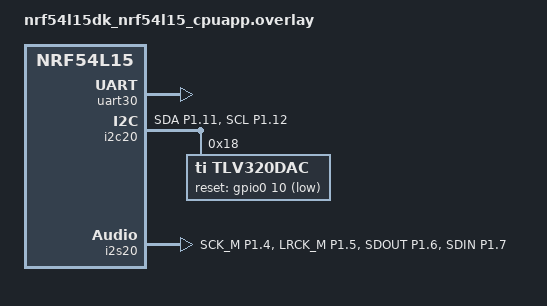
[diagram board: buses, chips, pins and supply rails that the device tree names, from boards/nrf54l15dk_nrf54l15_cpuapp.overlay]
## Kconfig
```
#
# Copyright (c) 2020 Nordic Semiconductor
#
# SPDX-License-Identifier: LicenseRef-Nordic-5-Clause
#

source "Kconfig.zephyr"

menu "Enhanced ShockBurst: Receiver"

config ESB_PRX_APP_LOG_LEVEL
	int "Log level for the ESB PRX sample"
	default 4

endmenu

config I2S_INIT_BUFFERS
	int "Initial count of audio data blocks"
	default 4
	help
	  Controls the initial count of audio data blocks, which are (optionally)
	  filled by data from the DMIC peripheral and played back by the I2S
	  output peripheral.

config SAMPLE_FREQ
	int "Sample rate"
	default 16000
	help
	  Sample frequency of the system.

config USE_CODEC_CLOCK
	bool "I2S BCK is generated by a selected codec device"
	help
	  If selected, the I2S selected peripheral will be configured to consume
	  (receive) the I2S BCK and WS signals and the codec will be configured
	  to generate those. If not selected, the I2S peripheral will generate
	  them and the codec will be expected to consume them.

config EXTRA_BLOCKS
	int "Number of extra blocks"
	default 32
	help
	  Extra blocks for storing PCM sample.

config SAMPLE_WIDTH
	int "Sample bit width"
	default 16
	help
	  PCM sample bit width.

config BYTES_PER_SAMPLE
	int "Bytes per sample"
	default 2
	help
	  Number of bytes per PCM sample.

config USE_DMIC
	bool "Use DMIC as an audio input"

if USE_DMIC

config DMIC_CHANNELS
	int "Number of DMIC channels"
	default 1
	help
	  Count of DMIC channels to capture and process.

endif
```

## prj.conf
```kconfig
#
# Copyright (c) 2019 Nordic Semiconductor ASA
#
# SPDX-License-Identifier: LicenseRef-Nordic-5-Clause
#
CONFIG_NCS_SAMPLES_DEFAULTS=y
CONFIG_ESB=y
CONFIG_DK_LIBRARY=y
CONFIG_CLOCK_CONTROL=y
CONFIG_ESB_MAX_PAYLOAD_LENGTH=252

# Gdb related configs
CONFIG_DEBUG_INFO=y
CONFIG_DEBUG_THREAD_INFO=y

# gcc setting
CONFIG_DEBUG_OPTIMIZATIONS=y

CONFIG_I2C=y
CONFIG_I2S=y

CONFIG_AUDIO=y
CONFIG_AUDIO_CODEC=y
CONFIG_USE_CODEC_CLOCK=y
CONFIG_SAMPLE_FREQ=48000
CONFIG_I2S_INIT_BUFFERS=4
CONFIG_EXTRA_BLOCKS=0

CONFIG_MAIN_STACK_SIZE=10240

CONFIG_AUDIO_CODEC_LOG_LEVEL_DBG=y
CONFIG_FPU=y
```

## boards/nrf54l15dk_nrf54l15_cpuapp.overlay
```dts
&{/chosen} {
    zephyr,audio-codec = &tlv320dac;
    zephyr,console = &uart30;
    zephyr,shell-uart = &uart30;
};

/ {
     aliases {
            audio-codec = &tlv320dac;
            i2s-codec-tx = &i2s20;
     };
};

/* ---------------- PINCTRL ---------------- */
&pinctrl {

    /* I2C0 pins */
    i2c20_default: i2c20_default {
        group1 {
            psels =
                <NRF_PSEL(TWIM_SDA, 1, 11)>,
                <NRF_PSEL(TWIM_SCL, 1, 12)>;
        };
    };

    /* I2S0 pins */
    i2s20_default: i2s20_default {
        group1 {
            psels =
                <NRF_PSEL(I2S_SCK_M,   1, 4)>,
                <NRF_PSEL(I2S_LRCK_M,  1, 5)>,
                <NRF_PSEL(I2S_SDOUT, 1, 6)>,
                <NRF_PSEL(I2S_SDIN,  1, 7)>;
        };
    };
};

&uart20 {
    status = "disabled";
};

&uart30 {
    status = "ok";
};

/* ---------- I2C ---------- */
&i2c20 {
    status = "okay";

    pinctrl-0 = <&i2c20_default>;
    pinctrl-names = "default";

    tlv320dac: tlv320dac@18 {
        status = "okay";

        compatible = "ti,tlv320dac";
        reg = <0x18>;
        reset-gpios = <&gpio0 10 GPIO_ACTIVE_LOW>;
    };
};

/* ---------- I2S ---------- */
&i2s20 {
    status = "okay";

    pinctrl-0 = <&i2s20_default>;
    pinctrl-names = "default";
};
```

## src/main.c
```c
/*
 * Copyright (c) 2018 Nordic Semiconductor ASA
 *
 * SPDX-License-Identifier: LicenseRef-Nordic-5-Clause
 */
#include <dk_buttons_and_leds.h>
#include <esb.h>
#include <nrf.h>
#include <zephyr/device.h>
#include <zephyr/devicetree.h>
#include <zephyr/drivers/clock_control.h>
#include <zephyr/drivers/clock_control/nrf_clock_control.h>
#include <zephyr/drivers/gpio.h>
#include <zephyr/drivers/i2s.h>
#include <zephyr/irq.h>
#include <zephyr/kernel.h>
#include <zephyr/logging/log.h>
#include <zephyr/types.h>
#if defined(CONFIG_CLOCK_CONTROL_NRF2)
#include <hal/nrf_lrcconf.h>
#endif
#include <nrf_erratas.h>
#if NRF54L_ERRATA_20_PRESENT
#include <hal/nrf_power.h>
#endif /* NRF54L_ERRATA_20_PRESENT */
#if defined(NRF54LM20A_ENGA_XXAA)
#include <hal/nrf_clock.h>
#endif /* defined(NRF54LM20A_ENGA_XXAA) */

LOG_MODULE_REGISTER(esb_prx, CONFIG_ESB_PRX_APP_LOG_LEVEL);

#define PACKET_RECEIVED 0U
#define AUDIO_QUEUE_OK 1U
#define I2S_WRITE_OK 2U
#define I2S_ACTIVE 3U

#define ESB_RF_CHANNEL 10U

static struct esb_payload rx_payload = {0};
#define NUM_SAMPLES 16U
typedef struct {
    uint16_t left;
    uint16_t right;
} sample_t;

typedef struct {
    uint16_t sequence_number;
    sample_t samples[NUM_SAMPLES];
} audio_message_t;

static uint16_t last_sequence_number = 0;
#define SAMPLE_BIT_WIDTH 16U
#define NUMBER_OF_CHANNELS 2U
#define BLOCK_DURATION_MS 100U

#define SAMPLES_PER_BLOCK (NUMBER_OF_CHANNELS * NUM_SAMPLES)
#define BYTES_PER_SAMPLE (SAMPLE_BIT_WIDTH / 8U)
#define BLOCK_SIZE (SAMPLES_PER_BLOCK * BYTES_PER_SAMPLE)
#define BLOCK_COUNT 4U

/* mem slab */
K_MEM_SLAB_DEFINE(mem_slab, BLOCK_SIZE, BLOCK_COUNT, 4);
K_MSGQ_DEFINE(audio_msgq, sizeof(void*), 8, 4);

const struct device* i2s_dev = DEVICE_DT_GET(DT_ALIAS(i2s_codec_tx));

void event_handler(struct esb_evt const* event) {
    switch (event->evt_id) {
        case ESB_EVENT_TX_SUCCESS:
            LOG_DBG("TX SUCCESS EVENT");
            break;
        case ESB_EVENT_TX_FAILED:
            LOG_DBG("TX FAILED EVENT");
            break;
        case ESB_EVENT_RX_RECEIVED:
            if (esb_read_rx_payload(&rx_payload) == 0) {
                audio_message_t* msg = (audio_message_t*)&rx_payload.data;
                if ((last_sequence_number + 1) == msg->sequence_number) {
                    void* mem_block;
                    if (k_mem_slab_alloc(&mem_slab, &mem_block, K_NO_WAIT) == 0) {
                        memcpy(mem_block, msg->samples, BLOCK_SIZE);
                        int rc = k_msgq_put(&audio_msgq, mem_block, K_NO_WAIT);
                        if (rc == 0) {
                            dk_set_led(AUDIO_QUEUE_OK, 1);
                        } else {
                            dk_set_led(AUDIO_QUEUE_OK, 0);
                        }
                    }
                    dk_set_led(PACKET_RECEIVED, 1);
                } else {
                    dk_set_led(PACKET_RECEIVED, 0);
                }
                last_sequence_number = msg->sequence_number;
            } else {
                LOG_ERR("Error while reading rx packet");
            }
            break;
    }
}

#if defined(CONFIG_CLOCK_CONTROL_NRF)
int clocks_start(void) {
    int rc;
    int res;
    struct onoff_manager* clk_mgr;
    struct onoff_client clk_cli;

    clk_mgr = z_nrf_clock_control_get_onoff(CLOCK_CONTROL_NRF_SUBSYS_HF);
    if (!clk_mgr) {
        LOG_ERR("Unable to get the Clock manager");
        return -ENXIO;
    }

    sys_notify_init_spinwait(&clk_cli.notify);

    rc = onoff_request(clk_mgr, &clk_cli);
    if (rc < 0) {
        LOG_ERR("Clock request failed: %d", rc);
        return rc;
    }

    do {
        rc = sys_notify_fetch_result(&clk_cli.notify, &res);
        if (!rc && res) {
            LOG_ERR("Clock could not be started: %d", res);
            return res;
        }
    } while (rc);

#if NRF54L_ERRATA_20_PRESENT
    if (nrf54l_errata_20()) {
        nrf_power_task_trigger(NRF_POWER, NRF_POWER_TASK_CONSTLAT);
    }
#endif /* NRF54L_ERRATA_20_PRESENT */

#if defined(NRF54LM20A_ENGA_XXAA)
    /* MLTPAN-39 */
    nrf_clock_task_trigger(NRF_CLOCK, NRF_CLOCK_TASK_PLLSTART);
#endif

    LOG_DBG("HF clock started");
    return 0;
}

#elif defined(CONFIG_CLOCK_CONTROL_NRF2)

int clocks_start(void) {
    int rc;
    int res;
    const struct device* radio_clk_dev = DEVICE_DT_GET_OR_NULL(DT_CLOCKS_CTLR(DT_NODELABEL(radio)));
    struct onoff_client radio_cli;

    /** Keep radio domain powered all the time to reduce latency. */
    nrf_lrcconf_poweron_force_set(NRF_LRCCONF010, NRF_LRCCONF_POWER_DOMAIN_1, true);

    sys_notify_init_spinwait(&radio_cli.notify);

    rc = nrf_clock_control_request(radio_clk_dev, NULL, &radio_cli);

    do {
        rc = sys_notify_fetch_result(&radio_cli.notify, &res);
        if (!rc && res) {
            LOG_ERR("Clock could not be started: %d", res);
            return res;
        }
    } while (rc == -EAGAIN);

    nrf_lrcconf_clock_always_run_force_set(NRF_LRCCONF000, 0, true);
    nrf_lrcconf_task_trigger(NRF_LRCCONF000, NRF_LRCCONF_TASK_CLKSTART_0);

    LOG_DBG("HF clock started");

    return 0;
}

#else
BUILD_ASSERT(false, "No Clock Control driver");
#endif /* defined(CONFIG_CLOCK_CONTROL_NRF2) */

int esb_initialize(void) {
    int rc;
    /* These are arbitrary default addresses. In end user products
     * different addresses should be used for each set of devices.
     */
    uint8_t base_addr_0[4] = {0xE7, 0xE7, 0xE7, 0xE7};
    uint8_t base_addr_1[4] = {0xC2, 0xC2, 0xC2, 0xC2};
    uint8_t addr_prefix[8] = {0xE7, 0xC2, 0xC3, 0xC4, 0xC5, 0xC6, 0xC7, 0xC8};

    struct esb_config config = ESB_DEFAULT_CONFIG;

    config.protocol = ESB_PROTOCOL_ESB_DPL;
    config.mode = ESB_MODE_PRX;
    config.bitrate = ESB_BITRATE_4MBPS;
    config.crc = ESB_CRC_OFF;
    config.use_fast_ramp_up = true;

    /* No Ack, no retransmit. */
    config.retransmit_count = 0;
    config.retransmit_delay = 0;
    config.selective_auto_ack = true;

    config.event_handler = event_handler;

    rc = esb_init(&config);
    if (rc) {
        return rc;
    }

    rc = esb_set_base_address_0(base_addr_0);
    if (rc) {
        return rc;
    }

    rc = esb_set_base_address_1(base_addr_1);
    if (rc) {
        return rc;
    }

    rc = esb_set_prefixes(addr_prefix, ARRAY_SIZE(addr_prefix));
    if (rc) {
        return rc;
    }

    rc = esb_set_rf_channel(ESB_RF_CHANNEL);
    if (rc) {
        return rc;
    }

    return 0;
}

int main(void) {
    int rc;
    int blocks_received = 0;
    LOG_INF("Enhanced ShockBurst prx sample");

    if (!device_is_ready(i2s_dev)) {
        printk("I2S device not ready\n");
        return -1;
    }

    struct i2s_config cfg = {0};
    cfg.word_size = SAMPLE_BIT_WIDTH;
    cfg.channels = NUMBER_OF_CHANNELS;
    cfg.format = I2S_FMT_DATA_FORMAT_I2S;
#ifdef CONFIG_USE_CODEC_CLOCK
    cfg.options = I2S_OPT_FRAME_CLK_MASTER | I2S_OPT_BIT_CLK_MASTER;
#else
    cfg.options = I2S_OPT_FRAME_CLK_SLAVE | I2S_OPT_BIT_CLK_SLAVE;
#endif
    cfg.frame_clk_freq = CONFIG_SAMPLE_FREQ;
    cfg.mem_slab = &mem_slab;
    cfg.block_size = BLOCK_SIZE;
    cfg.timeout = 2000U;

    if (i2s_configure(i2s_dev, I2S_DIR_TX, &cfg) < 0) {
        printk("I2S configure failed\n");
        return -1;
    }

    rc = clocks_start();
    if (rc) {
        return 0;
    }

    rc = dk_leds_init();
    if (rc) {
        LOG_ERR("LEDs initialization failed, rc %d", rc);
        return 0;
    }

    dk_set_led(PACKET_RECEIVED, 0);
    dk_set_led(AUDIO_QUEUE_OK, 0);
    dk_set_led(I2S_WRITE_OK, 0);
    dk_set_led(I2S_ACTIVE, 0);

    rc = esb_initialize();
    if (rc) {
        LOG_ERR("ESB initialization failed, rc %d", rc);
        return 0;
    }

    LOG_INF("Initialization complete");

    LOG_INF("Setting up for packet receiption");

    rc = esb_start_rx();
    if (rc) {
        LOG_ERR("RX setup failed, rc %d", rc);
        return 0;
    }

    while (true) {
        void* audio_buffer;
        rc = k_msgq_get(&audio_msgq, &audio_buffer, K_FOREVER);
        if (rc == 0) {
            if (i2s_write(i2s_dev, audio_buffer, BLOCK_SIZE) < 0) {
                dk_set_led(I2S_WRITE_OK, 1);
            }
            k_mem_slab_free(&mem_slab, audio_buffer);
            if (++blocks_received == BLOCK_COUNT) {
                if (i2s_trigger(i2s_dev, I2S_DIR_TX, I2S_TRIGGER_START) == 0) {
                    dk_set_led(I2S_ACTIVE, 1);
                } else {
                    dk_set_led(I2S_ACTIVE, 0);
                }
            }
        }
    }

    return 0;
}
```
